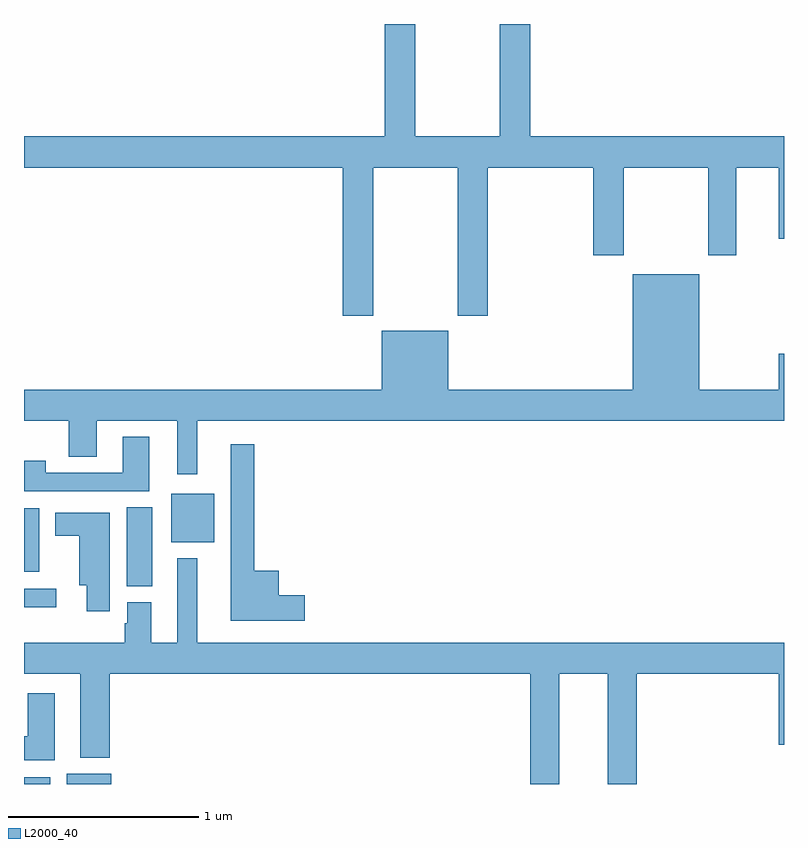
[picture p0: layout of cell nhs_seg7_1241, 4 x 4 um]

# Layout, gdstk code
import gdstk
lib = gdstk.Library(unit=1e-6, precision=1e-09)
def R(c, l, rs):  # rectangles x0, y0, x1, y1
    for r in rs: c.add(gdstk.rectangle(r[:2], r[2:], *l))
def P(c, l, *ps):  # polygons
    for p in ps: c.add(gdstk.Polygon(p, *l))
L2000_40 = (2000, 40)

nhs_seg7_1241 = lib.new_cell('nhs_seg7_1241')
R(nhs_seg7_1241, L2000_40, [(197,1036,197.137,1036.036), (197.225,1036,197.458,1036.054), (197,1036.93,197.17,1037.028), (197.54,1037.041,197.674,1037.456), (197,1037.117,197.08,1037.452), (197.774,1037.273,198.001,1037.527)])
P(nhs_seg7_1241, L2000_40, [(199.664,1040),(199.504,1040),(199.504,1039.408),(199.059,1039.408),(199.059,1040),(198.899,1040),(198.899,1039.408),(197,1039.408),(197,1039.244),(198.677,1039.244),(198.677,1038.465),(198.837,1038.465),(198.837,1039.244),(199.282,1039.244),(199.282,1038.465),(199.442,1038.465),(199.442,1039.244),(199.997,1039.244),(199.997,1038.783),(200.157,1038.783),(200.157,1039.244),(200.602,1039.244),(200.602,1038.783),(200.749,1038.783),(200.749,1039.244),(200.972,1039.244),(200.972,1038.87),(201,1038.87),(201,1039.408),(199.664,1039.408)],
  [(197.911,1037.912),(201,1037.912),(201,1038.265),(200.972,1038.265),(200.972,1038.076),(200.554,1038.076),(200.554,1038.682),(200.204,1038.682),(200.204,1038.076),(199.234,1038.076),(199.234,1038.385),(198.884,1038.385),(198.884,1038.076),(197,1038.076),(197,1037.912),(197.236,1037.912),(197.236,1037.722),(197.383,1037.722),(197.383,1037.912),(197.807,1037.912),(197.807,1037.631),(197.911,1037.631)],
  [(197.659,1037.827),(197.519,1037.827),(197.519,1037.637),(197.115,1037.637),(197.115,1037.701),(197,1037.701),(197,1037.541),(197.659,1037.541)],
  [(198.478,1036.994),(198.34,1036.994),(198.34,1037.122),(198.211,1037.122),(198.211,1037.788),(198.089,1037.788),(198.089,1036.859),(198.478,1036.859)],
  [(197.452,1037.428),(197.165,1037.428),(197.165,1037.306),(197.291,1037.306),(197.291,1037.045),(197.33,1037.045),(197.33,1036.908),(197.452,1036.908)],
  [(199.816,1036.58),(200.072,1036.58),(200.072,1036),(200.225,1036),(200.225,1036.58),(200.972,1036.58),(200.972,1036.206),(201,1036.206),(201,1036.744),(197.911,1036.744),(197.911,1037.188),(197.807,1037.188),(197.807,1036.744),(197.671,1036.744),(197.671,1036.956),(197.543,1036.956),(197.543,1036.845),(197.531,1036.845),(197.531,1036.744),(197,1036.744),(197,1036.58),(197.297,1036.58),(197.297,1036.139),(197.45,1036.139),(197.45,1036.58),(199.664,1036.58),(199.664,1036),(199.816,1036)],
  [(197.161,1036.477),(197.021,1036.477),(197.021,1036.252),(197,1036.252),(197,1036.124),(197.161,1036.124)])

lib.write_gds('nhs_seg7_1241.gds')
